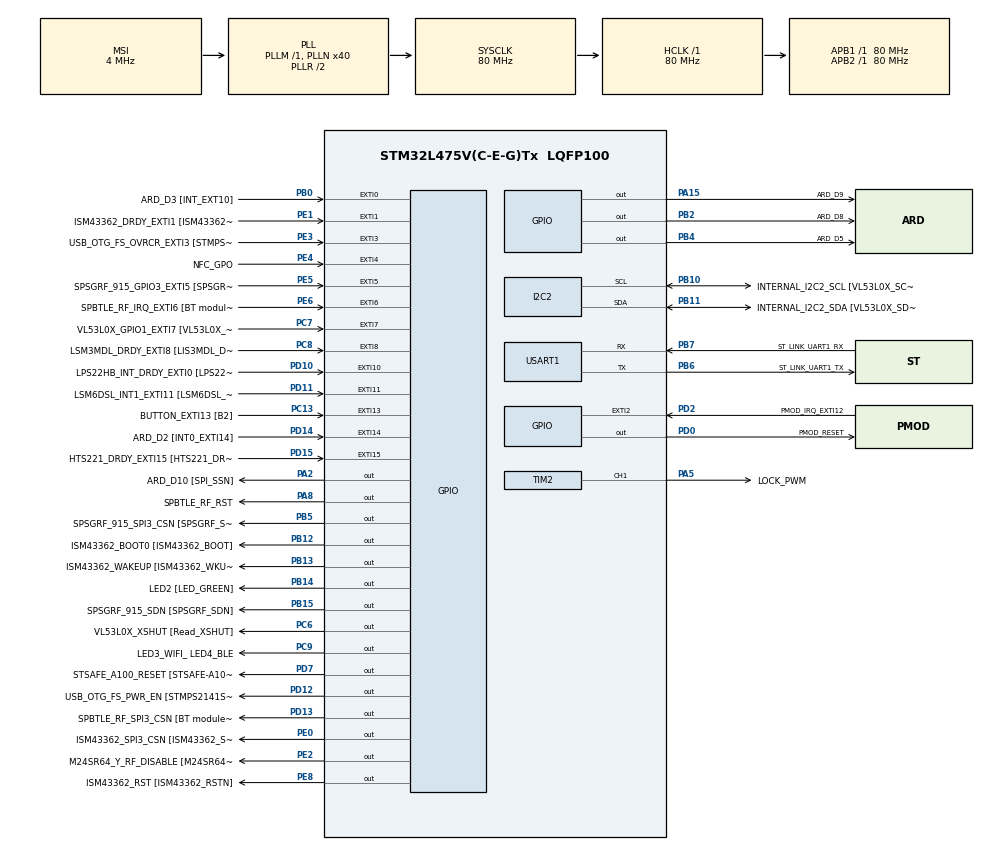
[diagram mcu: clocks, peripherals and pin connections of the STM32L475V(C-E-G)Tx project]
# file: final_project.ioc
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FREERTOS.Tasks01=defaultTask,24,128,StartDefaultTask,Default,NULL,Dynamic,NULL,NULL
FREERTOS.configCHECK_FOR_STACK_OVERFLOW=2
FREERTOS.configTOTAL_HEAP_SIZE=32768
FREERTOS.configUSE_MALLOC_FAILED_HOOK=1
FREERTOS.configUSE_NEWLIB_REENTRANT=1
I2C2.Timing=0x10D19CE4
Mcu.Family=STM32L4
Mcu.Name=STM32L475V(C-E-G)Tx
Mcu.Package=LQFP100
NVIC.EXTI15_10_IRQn=true\:5\:0\:false\:false\:true\:true\:true\:true\:true
NVIC.EXTI4_IRQn=true\:5\:0\:false\:false\:true\:true\:true\:true\:true
NVIC.EXTI9_5_IRQn=true\:5\:0\:false\:false\:true\:true\:true\:true\:true
NVIC.PriorityGroup=NVIC_PRIORITYGROUP_4
NVIC.TIM6_DAC_IRQn=true\:15\:0\:false\:false\:true\:false\:false\:true\:true
NVIC.TimeBase=TIM6_DAC_IRQn
NVIC.TimeBaseIP=TIM6
PA0.GPIO_Label=ARD_D1 [UART4_TX]
PA0.Signal=UART4_TX
PA1.GPIO_Label=ARD_D0 [UART4_RX]
PA1.Signal=UART4_RX
PA10.GPIO_Label=USB_OTG_FS_ID
PA10.Signal=USB_OTG_FS_ID
PA11.GPIO_Label=USB_OTG_FS_DM
PA11.Signal=USB_OTG_FS_DM
PA12.GPIO_Label=USB_OTG_FS_DP
PA12.Signal=USB_OTG_FS_DP
PA13\ (JTMS-SWDIO).GPIO_Label=SYS_JTMS_SWDIO
PA13\ (JTMS-SWDIO).Mode=Trace_Asynchronous_SW
PA13\ (JTMS-SWDIO).Signal=SYS_JTMS-SWDIO
PA14\ (JTCK-SWCLK).GPIO_Label=SYS_JTCK_SWCLK
PA14\ (JTCK-SWCLK).Mode=Trace_Asynchronous_SW
PA14\ (JTCK-SWCLK).Signal=SYS_JTCK-SWCLK
PA15\ (JTDI).GPIO_Label=ARD_D9
PA15\ (JTDI).Signal=GPIO_Output
PA2.GPIO_Label=ARD_D10 [SPI_SSN]
PA2.Signal=GPIO_Output
PA3.GPIO_Label=ARD_D4
PA3.Signal=S_TIM2_CH4
PA4.GPIO_Label=ARD_D7
PA4.Signal=ADCx_IN9
PA5.GPIO_Label=LOCK_PWM
PA5.Signal=S_TIM2_CH1
PA6.GPIO_Label=ARD_D12 [SPI1_MISO]
PA6.Signal=SPI1_MISO
PA7.GPIO_Label=ARD_D11 [SPI1_MOSI]
PA7.Signal=SPI1_MOSI
PA8.GPIO_Label=SPBTLE_RF_RST
PA8.Signal=GPIO_Output
PA9.GPIO_Label=USB_OTG_FS_VBUS [STMPS2141STR_OUT]
PA9.Signal=USB_OTG_FS_VBUS
PB0.GPIO_Label=ARD_D3 [INT_EXT10]
PB0.Signal=GPXTI0
PB1.GPIO_Label=ARD_D6 [ADC1_IN6]
PB1.Signal=ADCx_IN16
PB10.GPIO_Label=INTERNAL_I2C2_SCL [VL53L0X_SCL]
PB10.GPIO_Pu=GPIO_PULLUP
PB10.Mode=I2C
PB10.Signal=I2C2_SCL
PB11.GPIO_Label=INTERNAL_I2C2_SDA [VL53L0X_SDA]
PB11.GPIO_Pu=GPIO_PULLUP
PB11.Mode=I2C
PB11.Signal=I2C2_SDA
PB12.GPIO_Label=ISM43362_BOOT0 [ISM43362_BOOT]
PB12.Signal=GPIO_Output
PB13.GPIO_Label=ISM43362_WAKEUP [ISM43362_WKUP]
PB13.Signal=GPIO_Output
PB14.GPIO_Label=LED2 [LED_GREEN]
PB14.Signal=GPIO_Output
PB15.GPIO_Label=SPSGRF_915_SDN [SPSGRF_SDN]
PB15.Signal=GPIO_Output
PB2.GPIO_Label=ARD_D8
PB2.Signal=GPIO_Output
PB3\ (JTDO-TRACESWO).GPIO_Label=SYS_JTD0_SWO
PB3\ (JTDO-TRACESWO).Mode=Trace_Asynchronous_SW
PB3\ (JTDO-TRACESWO).Signal=SYS_JTDO-SWO
PB4\ (NJTRST).GPIO_Label=ARD_D5
PB4\ (NJTRST).Signal=GPIO_Output
PB5.GPIO_Label=SPSGRF_915_SPI3_CSN [SPSGRF_SPI_CS]
PB5.PinState=GPIO_PIN_SET
PB5.Signal=GPIO_Output
PB6.GPIO_Label=ST_LINK_UART1_TX
PB6.Mode=Asynchronous
PB6.Signal=USART1_TX
PB7.GPIO_Label=ST_LINK_UART1_RX
PB7.Mode=Asynchronous
PB7.Signal=USART1_RX
PB8.GPIO_Label=ARD_D15 [I2C1_SCL]
PB8.Signal=I2C1_SCL
PB9.GPIO_Label=ARD_D14 [I2C1_SDA]
PB9.Signal=I2C1_SDA
PC0.GPIO_Label=ARD_A5 [ADC]
PC0.Signal=ADCx_IN1
PC1.GPIO_Label=ARD_A4 [ADC]
PC1.Signal=ADCx_IN2
PC10.GPIO_Label=INTERNAL_SPI3_SCK [BT module_SPI_SCLK] [ISM43362_SCK]
PC10.Signal=SPI3_SCK
PC11.GPIO_Label=INTERNAL_SPI3_MISO [BT module_SPI_MISO] [ISM43362_MISO]
PC11.Signal=SPI3_MISO
PC12.GPIO_Label=INTERNAL_SPI3_MOSI [BT module_SPI_MOSI] [ISM43362_MOSI]
PC12.Signal=SPI3_MOSI
PC13.GPIO_Label=BUTTON_EXTI13 [B2]
PC13.GPIO_ModeDefaultEXTI=GPIO_MODE_IT_FALLING
PC13.Signal=GPXTI13
PC14-OSC32_IN\ (PC14).Mode=LSE-External-Oscillator
PC14-OSC32_IN\ (PC14).Signal=RCC_OSC32_IN
PC15-OSC32_OUT\ (PC15).Mode=LSE-External-Oscillator
PC15-OSC32_OUT\ (PC15).Signal=RCC_OSC32_OUT
PC2.GPIO_Label=ARD_A3 [ADC]
PC2.Signal=ADCx_IN3
PC3.GPIO_Label=ARD_A2 [ADC]
PC3.Signal=ADCx_IN4
PC4.GPIO_Label=ARD_A1 [ADC]
PC4.Signal=ADCx_IN13
PC5.GPIO_Label=ARD_A0 [ADC]
PC5.Signal=ADCx_IN14
PC6.GPIO_Label=VL53L0X_XSHUT [Read_XSHUT]
PC6.PinState=GPIO_PIN_SET
PC6.Signal=GPIO_Output
PC7.GPIO_Label=VL53L0X_GPIO1_EXTI7 [VL53L0X_GPIO1]
PC7.GPIO_ModeDefaultEXTI=GPIO_MODE_IT_FALLING
PC7.GPIO_PuPd=GPIO_PULLUP
PC7.Signal=GPXTI7
PC8.GPIO_Label=LSM3MDL_DRDY_EXTI8 [LIS3MDL_DRDY]
PC8.Signal=GPXTI8
PC9.GPIO_Label=LED3_WIFI_ LED4_BLE
PC9.Signal=GPIO_Output
PD0.GPIO_Label=PMOD_RESET
PD0.Signal=GPIO_Output
PD1.GPIO_Label=PMOD_SPI2_SCK
PD1.Signal=SPI2_SCK
PD10.GPIO_Label=LPS22HB_INT_DRDY_EXTI0 [LPS22HB_INT_DRDY] 
PD10.Signal=GPXTI10
PD11.GPIO_Label=LSM6DSL_INT1_EXTI11 [LSM6DSL_INT1]
PD11.Signal=GPXTI11
PD12.GPIO_Label=USB_OTG_FS_PWR_EN [STMPS2141STR_EN]
PD12.Signal=GPIO_Output
PD13.GPIO_Label=SPBTLE_RF_SPI3_CSN [BT module_SPI_CS]
PD13.PinState=GPIO_PIN_SET
PD13.Signal=GPIO_Output
PD14.GPIO_Label=ARD_D2 [INT0_EXTI14]
PD14.Signal=GPXTI14
PD15.GPIO_Label=HTS221_DRDY_EXTI15 [HTS221_DRDY]
PD15.Signal=GPXTI15
PD2.GPIO_Label=PMOD_IRQ_EXTI12
PD2.Signal=GPXTI2
PD3.GPIO_Label=PMOD_UART2_CTS
PD3.Signal=USART2_CTS
PD4.GPIO_Label=PMOD_UART2_RTS
PD4.Signal=USART2_RTS
PD5.GPIO_Label=PMOD_UART2_TX
PD5.Signal=USART2_TX
PD6.GPIO_Label=PMOD_UART2_RX
PD6.Signal=USART2_RX
PD7.GPIO_Label=STSAFE_A100_RESET [STSAFE-A100_RESET]
PD7.Signal=GPIO_Output
PD8.GPIO_Label=INTERNAL_UART3_TX [ISM43362_RX]
PD8.Signal=USART3_TX
PD9.GPIO_Label=INTERNAL_UART3_RX [ISM43362_TX]
PD9.Signal=USART3_RX
PE0.GPIO_Label=ISM43362_SPI3_CSN [ISM43362_SSN]
PE0.PinState=GPIO_PIN_SET
PE0.Signal=GPIO_Output
PE1.GPIO_Label=ISM43362_DRDY_EXTI1 [ISM43362_DATARDY]
PE1.Signal=GPXTI1
PE10.GPIO_Label=QUADSPI_CLK [MX25R6435F_SCLK]
PE10.Signal=QUADSPI_CLK
PE11.GPIO_Label=QUADSPI_NCS [MX25R6435F_SCLK]
PE11.Signal=QUADSPI_NCS
PE12.GPIO_Label=OQUADSPI_BK1_IO0 [MX25R6435F_IO0]
PE12.Signal=QUADSPI_BK1_IO0
PE13.GPIO_Label=QUADSPI_BK1_IO1 [MX25R6435F_IO1]
PE13.Signal=QUADSPI_BK1_IO1
PE14.GPIO_Label=QUAD_SPI_BK1_IO2 [MX25R6435F_IO2]
PE14.Signal=QUADSPI_BK1_IO2
PE15.GPIO_Label=QUAD_SPI_BK1_IO3 [MX25R6435F_IO3]
PE15.Signal=QUADSPI_BK1_IO3
PE2.GPIO_Label=M24SR64_Y_RF_DISABLE [M24SR64_RFDIS]
PE2.Signal=GPIO_Output
PE3.GPIO_Label=USB_OTG_FS_OVRCR_EXTI3 [STMPS2141STR_FAULT]
PE3.Signal=GPXTI3
PE4.GPIO_Label=NFC_GPO
PE4.GPIO_ModeDefaultEXTI=GPIO_MODE_IT_FALLING
PE4.GPIO_PuPd=GPIO_PULLUP
PE4.Signal=GPXTI4
PE5.GPIO_Label=SPSGRF_915_GPIO3_EXTI5 [SPSGRF_GPIO_3]
PE5.Signal=GPXTI5
PE6.GPIO_Label=SPBTLE_RF_IRQ_EXTI6 [BT module_SPI_IRQ]
PE6.Signal=GPXTI6
PE7.GPIO_Label=DFSDM1_DATIN2 [MP34DT01_DOUT]
PE7.Signal=S_DATAIN2DFSDM1
PE8.GPIO_Label=ISM43362_RST [ISM43362_RSTN]
PE8.Signal=GPIO_Output
PE9.GPIO_Label=DFSDM1_CKOUT [MP34DT01_CLK]
PE9.Signal=S_CKOUTDFSDM1
ProjectManager.HeapSize=0x200
ProjectManager.StackSize=0x400
ProjectManager.TargetToolchain=STM32CubeIDE
RCC.ADCFreq_Value=48000000
RCC.AHBFreq_Value=80000000
RCC.APB1Freq_Value=80000000
RCC.APB1TimFreq_Value=80000000
RCC.APB2Freq_Value=80000000
RCC.APB2TimFreq_Value=80000000
RCC.CortexFreq_Value=80000000
RCC.HCLKFreq_Value=80000000
RCC.HSE_VALUE=8000000
RCC.HSI_VALUE=16000000
RCC.MSI_VALUE=4000000
RCC.PLLN=40
RCC.PLLSAI1N=24
RCC.SYSCLKFreq_VALUE=80000000
RCC.SYSCLKSource=RCC_SYSCLKSOURCE_PLLCLK
RCC.USBFreq_Value=48000000
RCC.VCOOutputFreq_Value=160000000
SH.ADCx_IN1.0=ADC1_IN1
SH.ADCx_IN13.0=ADC1_IN13
SH.ADCx_IN14.0=ADC1_IN14
SH.ADCx_IN16.0=ADC1_IN16
SH.ADCx_IN2.0=ADC1_IN2
SH.ADCx_IN3.0=ADC1_IN3
SH.ADCx_IN4.0=ADC1_IN4
SH.ADCx_IN9.0=ADC1_IN9
SH.S_CKOUTDFSDM1.0=DFSDM1_CKOUT
SH.S_CKOUTDFSDM1.1=DFSDM1_CKOUT
SH.S_DATAIN2DFSDM1.0=DFSDM1_DATIN2
SH.S_TIM2_CH1.0=TIM2_CH1,PWM Generation1 CH1
SH.S_TIM2_CH4.0=TIM2_CH4
TIM2.AutoReloadPreload=TIM_AUTORELOAD_PRELOAD_ENABLE
TIM2.Channel-PWM\ Generation1\ CH1=TIM_CHANNEL_1
TIM2.Period=19999
TIM2.Prescaler=79
TIM2.Pulse-PWM\ Generation1\ CH1=1000
USART1.VirtualMode-Asynchronous=VM_ASYNC
VP_FREERTOS_VS_CMSIS_V2.Mode=CMSIS_V2
VP_SYS_VS_tim6.Mode=TIM6
VP_TIM2_VS_ClockSourceINT.Mode=Internal
board=B-L475E-IOT01A1

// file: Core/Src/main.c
/* USER CODE BEGIN Header */
/**
  ******************************************************************************
  * @file           : main.c
  * @brief          : Main program body
  ******************************************************************************
  * @attention
  *
  * Copyright (c) 2026 STMicroelectronics.
  * All rights reserved.
  *
  * This software is licensed under terms that can be found in the LICENSE file
  * in the root directory of this software component.
  * If no LICENSE file comes with this software, it is provided AS-IS.
  *
  ******************************************************************************
  */
/* USER CODE END Header */
#include "main.h"
#include "cmsis_os.h"

/* USER CODE BEGIN Includes */
#include <stdio.h>
#include <stdarg.h>
#include "FreeRTOS.h"
#include "task.h"
#include "queue.h"
#include "semphr.h"
#include "timers.h"
/* USER CODE END Includes */

/* USER CODE BEGIN PTD */
typedef enum {
  ST_IDLE = 0,      /* locked, empty, sleeping                */
  ST_DELIVERY,      /* chute open, waiting for a package      */
  ST_STORED,        /* package inside, locked                 */
  ST_RETRIEVAL,     /* owner authenticated, lock open         */
  ST_ALARM          /* failed authentication                  */
} State_t;

typedef enum {
  EV_DELIVERY_REQUEST = 0,
  EV_PACKAGE_PRESENT,
  EV_PACKAGE_REMOVED,
  EV_AUTH_OK,
  EV_AUTH_FAIL,
  EV_TIMEOUT,
  EV_TEMP
} EventType_t;

typedef struct {
  EventType_t type;
  int32_t     value;   /* event data; for EV_TIMEOUT = timer generation */
  TickType_t  tick;    /* when it was posted (1 tick = 1 ms)            */
} Event_t;
/* USER CODE END PTD */

/* USER CODE BEGIN PD */
/* Task notification bits: the native FreeRTOS form of thread flags */
#define FLAG_BUTTON           (1UL << 0)
#define FLAG_TOF              (1UL << 1)
#define FLAG_NFC              (1UL << 2)

#define EVENT_QUEUE_LEN       16
#define DEBOUNCE_MS           50

/* State timeouts in ms */
#define TIMEOUT_DELIVERY_MS   30000
#define TIMEOUT_RETRIEVAL_MS  60000
#define TIMEOUT_ALARM_MS      10000

/* Stack depths are in WORDS (1 word = 4 bytes) */
#define STACK_STATE           384
#define STACK_BUTTON          256
#define STACK_MONITOR         384

#define PRIO_STATE            (tskIDLE_PRIORITY + 4)
#define PRIO_BUTTON           (tskIDLE_PRIORITY + 3)
#define PRIO_MONITOR          (tskIDLE_PRIORITY + 1)
/* USER CODE END PD */

I2C_HandleTypeDef hi2c2;

TIM_HandleTypeDef htim2;

UART_HandleTypeDef huart1;

/* Definitions for defaultTask */
osThreadId_t defaultTaskHandle;
const osThreadAttr_t defaultTask_attributes = {
  .name = "defaultTask",
  .stack_size = 128 * 4,
  .priority = (osPriority_t) osPriorityNormal,
};
/* USER CODE BEGIN PV */
TaskHandle_t      stateTaskHandle   = NULL;
TaskHandle_t      buttonTaskHandle  = NULL;
TaskHandle_t      monitorTaskHandle = NULL;

QueueHandle_t     eventQueue        = NULL;
SemaphoreHandle_t i2cMutex          = NULL;  /* I2C2: VL53L0X, HTS221, M24SR */
SemaphoreHandle_t logMutex          = NULL;  /* printf from several tasks    */
TimerHandle_t     stateTimer        = NULL;

static volatile State_t  currentState   = ST_IDLE;
static volatile uint32_t timerGen       = 0;
static volatile uint32_t droppedEvents  = 0;
/* USER CODE END PV */

void SystemClock_Config(void);
static void MX_GPIO_Init(void);
static void MX_I2C2_Init(void);
static void MX_USART1_UART_Init(void);
static void MX_TIM2_Init(void);
void StartDefaultTask(void *argument);

/* USER CODE BEGIN PFP */
static void StateTask(void *arg);
static void ButtonTask(void *arg);
static void MonitorTask(void *arg);
static void StateTimerCallback(TimerHandle_t t);
static void post_event(EventType_t type, int32_t value);
static void enter_state(State_t s);
static const char *state_name(State_t s);
void log_printf(const char *fmt, ...);
/* USER CODE END PFP */

/* USER CODE BEGIN 0 */
int _write(int file, char *ptr, int len)
{
  (void)file;
  for (int i = 0; i < len; i++)
  {
    ITM_SendChar(*ptr++);
  }
  return len;
}
/* USER CODE END 0 */

int main(void)
{

  /* MCU Configuration--------------------------------------------------------*/

  /* Reset of all peripherals, Initializes the Flash interface and the Systick. */
  HAL_Init();

  /* Configure the system clock */
  SystemClock_Config();

  /* Initialize all configured peripherals */
  MX_GPIO_Init();
  MX_I2C2_Init();
  MX_USART1_UART_Init();
  MX_TIM2_Init();

  /* Init scheduler */
  osKernelInitialize();

  /* Create the thread(s) */
  /* creation of defaultTask */
  defaultTaskHandle = osThreadNew(StartDefaultTask, NULL, &defaultTask_attributes);

  /* Start scheduler */
  osKernelStart();

  /* We should never get here as control is now taken by the scheduler */

  /* Infinite loop */
  while (1)
  {

  }
}

void SystemClock_Config(void)
{
  RCC_OscInitTypeDef RCC_OscInitStruct = {0};
  RCC_ClkInitTypeDef RCC_ClkInitStruct = {0};

  /** Configure the main internal regulator output voltage
  */
  if (HAL_PWREx_ControlVoltageScaling(PWR_REGULATOR_VOLTAGE_SCALE1) != HAL_OK)
  {
    Error_Handler();
  }

  /** Configure LSE Drive Capability
  */
  HAL_PWR_EnableBkUpAccess();
  __HAL_RCC_LSEDRIVE_CONFIG(RCC_LSEDRIVE_LOW);

  /** Initializes the RCC Oscillators according to the specified parameters
  * in the RCC_OscInitTypeDef structure.
  */
  RCC_OscInitStruct.OscillatorType = RCC_OSCILLATORTYPE_LSE|RCC_OSCILLATORTYPE_MSI;
  RCC_OscInitStruct.LSEState = RCC_LSE_ON;
  RCC_OscInitStruct.MSIState = RCC_MSI_ON;
  RCC_OscInitStruct.MSICalibrationValue = 0;
  RCC_OscInitStruct.MSIClockRange = RCC_MSIRANGE_6;
  RCC_OscInitStruct.PLL.PLLState = RCC_PLL_ON;
  RCC_OscInitStruct.PLL.PLLSource = RCC_PLLSOURCE_MSI;
  RCC_OscInitStruct.PLL.PLLM = 1;
  RCC_OscInitStruct.PLL.PLLN = 40;
  RCC_OscInitStruct.PLL.PLLP = RCC_PLLP_DIV7;
  RCC_OscInitStruct.PLL.PLLQ = RCC_PLLQ_DIV2;
  RCC_OscInitStruct.PLL.PLLR = RCC_PLLR_DIV2;
  if (HAL_RCC_OscConfig(&RCC_OscInitStruct) != HAL_OK)
  {
    Error_Handler();
  }

  /** Initializes the CPU, AHB and APB buses clocks
  */
  RCC_ClkInitStruct.ClockType = RCC_CLOCKTYPE_HCLK|RCC_CLOCKTYPE_SYSCLK
                              |RCC_CLOCKTYPE_PCLK1|RCC_CLOCKTYPE_PCLK2;
  RCC_ClkInitStruct.SYSCLKSource = RCC_SYSCLKSOURCE_PLLCLK;
  RCC_ClkInitStruct.AHBCLKDivider = RCC_SYSCLK_DIV1;
  RCC_ClkInitStruct.APB1CLKDivider = RCC_HCLK_DIV1;
  RCC_ClkInitStruct.APB2CLKDivider = RCC_HCLK_DIV1;

  if (HAL_RCC_ClockConfig(&RCC_ClkInitStruct, FLASH_LATENCY_4) != HAL_OK)
  {
    Error_Handler();
  }

  /** Enable MSI Auto calibration
  */
  HAL_RCCEx_EnableMSIPLLMode();
}

static void MX_I2C2_Init(void)
{

  hi2c2.Instance = I2C2;
  hi2c2.Init.Timing = 0x10D19CE4;
  hi2c2.Init.OwnAddress1 = 0;
  hi2c2.Init.AddressingMode = I2C_ADDRESSINGMODE_7BIT;
  hi2c2.Init.DualAddressMode = I2C_DUALADDRESS_DISABLE;
  hi2c2.Init.OwnAddress2 = 0;
  hi2c2.Init.OwnAddress2Masks = I2C_OA2_NOMASK;
  hi2c2.Init.GeneralCallMode = I2C_GENERALCALL_DISABLE;
  hi2c2.Init.NoStretchMode = I2C_NOSTRETCH_DISABLE;
  if (HAL_I2C_Init(&hi2c2) != HAL_OK)
  {
    Error_Handler();
  }

  /** Configure Analogue filter
  */
  if (HAL_I2CEx_ConfigAnalogFilter(&hi2c2, I2C_ANALOGFILTER_ENABLE) != HAL_OK)
  {
    Error_Handler();
  }

  /** Configure Digital filter
  */
  if (HAL_I2CEx_ConfigDigitalFilter(&hi2c2, 0) != HAL_OK)
  {
    Error_Handler();
  }

}

static void MX_TIM2_Init(void)
{

  TIM_ClockConfigTypeDef sClockSourceConfig = {0};
  TIM_MasterConfigTypeDef sMasterConfig = {0};
  TIM_OC_InitTypeDef sConfigOC = {0};

  htim2.Instance = TIM2;
  htim2.Init.Prescaler = 79;
  htim2.Init.CounterMode = TIM_COUNTERMODE_UP;
  htim2.Init.Period = 19999;
  htim2.Init.ClockDivision = TIM_CLOCKDIVISION_DIV1;
  htim2.Init.AutoReloadPreload = TIM_AUTORELOAD_PRELOAD_ENABLE;
  if (HAL_TIM_Base_Init(&htim2) != HAL_OK)
  {
    Error_Handler();
  }
  sClockSourceConfig.ClockSource = TIM_CLOCKSOURCE_INTERNAL;
  if (HAL_TIM_ConfigClockSource(&htim2, &sClockSourceConfig) != HAL_OK)
  {
    Error_Handler();
  }
  if (HAL_TIM_PWM_Init(&htim2) != HAL_OK)
  {
    Error_Handler();
  }
  sMasterConfig.MasterOutputTrigger = TIM_TRGO_RESET;
  sMasterConfig.MasterSlaveMode = TIM_MASTERSLAVEMODE_DISABLE;
  if (HAL_TIMEx_MasterConfigSynchronization(&htim2, &sMasterConfig) != HAL_OK)
  {
    Error_Handler();
  }
  sConfigOC.OCMode = TIM_OCMODE_PWM1;
  sConfigOC.Pulse = 1000;
  sConfigOC.OCPolarity = TIM_OCPOLARITY_HIGH;
  sConfigOC.OCFastMode = TIM_OCFAST_DISABLE;
  if (HAL_TIM_PWM_ConfigChannel(&htim2, &sConfigOC, TIM_CHANNEL_1) != HAL_OK)
  {
    Error_Handler();
  }
  HAL_TIM_MspPostInit(&htim2);

}

static void MX_USART1_UART_Init(void)
{

  huart1.Instance = USART1;
  huart1.Init.BaudRate = 115200;
  huart1.Init.WordLength = UART_WORDLENGTH_8B;
  huart1.Init.StopBits = UART_STOPBITS_1;
  huart1.Init.Parity = UART_PARITY_NONE;
  huart1.Init.Mode = UART_MODE_TX_RX;
  huart1.Init.HwFlowCtl = UART_HWCONTROL_NONE;
  huart1.Init.OverSampling = UART_OVERSAMPLING_16;
  huart1.Init.OneBitSampling = UART_ONE_BIT_SAMPLE_DISABLE;
  huart1.AdvancedInit.AdvFeatureInit = UART_ADVFEATURE_NO_INIT;
  if (HAL_UART_Init(&huart1) != HAL_OK)
  {
    Error_Handler();
  }

}

static void MX_GPIO_Init(void)
{
  GPIO_InitTypeDef GPIO_InitStruct = {0};

  /* GPIO Ports Clock Enable */
  __HAL_RCC_GPIOE_CLK_ENABLE();
  __HAL_RCC_GPIOC_CLK_ENABLE();
  __HAL_RCC_GPIOA_CLK_ENABLE();
  __HAL_RCC_GPIOB_CLK_ENABLE();
  __HAL_RCC_GPIOD_CLK_ENABLE();

  /*Configure GPIO pin Output Level */
  HAL_GPIO_WritePin(GPIOE, M24SR64_Y_RF_DISABLE_Pin|ISM43362_RST_Pin, GPIO_PIN_RESET);

  /*Configure GPIO pin Output Level */
  HAL_GPIO_WritePin(GPIOA, ARD_D10_Pin|SPBTLE_RF_RST_Pin|ARD_D9_Pin, GPIO_PIN_RESET);

  /*Configure GPIO pin Output Level */
  HAL_GPIO_WritePin(GPIOB, ARD_D8_Pin|ISM43362_BOOT0_Pin|ISM43362_WAKEUP_Pin|LED2_Pin
                          |SPSGRF_915_SDN_Pin|ARD_D5_Pin, GPIO_PIN_RESET);

  /*Configure GPIO pin Output Level */
  HAL_GPIO_WritePin(GPIOD, USB_OTG_FS_PWR_EN_Pin|PMOD_RESET_Pin|STSAFE_A100_RESET_Pin, GPIO_PIN_RESET);

  /*Configure GPIO pin Output Level */
  HAL_GPIO_WritePin(SPBTLE_RF_SPI3_CSN_GPIO_Port, SPBTLE_RF_SPI3_CSN_Pin, GPIO_PIN_SET);

  /*Configure GPIO pin Output Level */
  HAL_GPIO_WritePin(VL53L0X_XSHUT_GPIO_Port, VL53L0X_XSHUT_Pin, GPIO_PIN_SET);

  /*Configure GPIO pin Output Level */
  HAL_GPIO_WritePin(LED3_WIFI__LED4_BLE_GPIO_Port, LED3_WIFI__LED4_BLE_Pin, GPIO_PIN_RESET);

  /*Configure GPIO pin Output Level */
  HAL_GPIO_WritePin(SPSGRF_915_SPI3_CSN_GPIO_Port, SPSGRF_915_SPI3_CSN_Pin, GPIO_PIN_SET);

  /*Configure GPIO pin Output Level */
  HAL_GPIO_WritePin(ISM43362_SPI3_CSN_GPIO_Port, ISM43362_SPI3_CSN_Pin, GPIO_PIN_SET);

  /*Configure GPIO pins : M24SR64_Y_RF_DISABLE_Pin ISM43362_RST_Pin ISM43362_SPI3_CSN_Pin */
  GPIO_InitStruct.Pin = M24SR64_Y_RF_DISABLE_Pin|ISM43362_RST_Pin|ISM43362_SPI3_CSN_Pin;
  GPIO_InitStruct.Mode = GPIO_MODE_OUTPUT_PP;
  GPIO_InitStruct.Pull = GPIO_NOPULL;
  GPIO_InitStruct.Speed = GPIO_SPEED_FREQ_LOW;
  HAL_GPIO_Init(GPIOE, &GPIO_InitStruct);

  /*Configure GPIO pins : USB_OTG_FS_OVRCR_EXTI3_Pin SPSGRF_915_GPIO3_EXTI5_Pin SPBTLE_RF_IRQ_EXTI6_Pin ISM43362_DRDY_EXTI1_Pin */
  GPIO_InitStruct.Pin = USB_OTG_FS_OVRCR_EXTI3_Pin|SPSGRF_915_GPIO3_EXTI5_Pin|SPBTLE_RF_IRQ_EXTI6_Pin|ISM43362_DRDY_EXTI1_Pin;
  GPIO_InitStruct.Mode = GPIO_MODE_IT_RISING;
  GPIO_InitStruct.Pull = GPIO_NOPULL;
  HAL_GPIO_Init(GPIOE, &GPIO_InitStruct);

  /*Configure GPIO pin : NFC_GPO_Pin */
  GPIO_InitStruct.Pin = NFC_GPO_Pin;
  GPIO_InitStruct.Mode = GPIO_MODE_IT_FALLING;
  GPIO_InitStruct.Pull = GPIO_PULLUP;
  HAL_GPIO_Init(NFC_GPO_GPIO_Port, &GPIO_InitStruct);

  /*Configure GPIO pin : BUTTON_EXTI13_Pin */
  GPIO_InitStruct.Pin = BUTTON_EXTI13_Pin;
  GPIO_InitStruct.Mode = GPIO_MODE_IT_FALLING;
  GPIO_InitStruct.Pull = GPIO_NOPULL;
  HAL_GPIO_Init(BUTTON_EXTI13_GPIO_Port, &GPIO_InitStruct);

  /*Configure GPIO pins : ARD_A5_Pin ARD_A4_Pin ARD_A3_Pin ARD_A2_Pin
                           ARD_A1_Pin ARD_A0_Pin */
  GPIO_InitStruct.Pin = ARD_A5_Pin|ARD_A4_Pin|ARD_A3_Pin|ARD_A2_Pin
                          |ARD_A1_Pin|ARD_A0_Pin;
  GPIO_InitStruct.Mode = GPIO_MODE_ANALOG_ADC_CONTROL;
  GPIO_InitStruct.Pull = GPIO_NOPULL;
  HAL_GPIO_Init(GPIOC, &GPIO_InitStruct);

  /*Configure GPIO pins : ARD_D1_Pin ARD_D0_Pin */
  GPIO_InitStruct.Pin = ARD_D1_Pin|ARD_D0_Pin;
  GPIO_InitStruct.Mode = GPIO_MODE_AF_PP;
  GPIO_InitStruct.Pull = GPIO_NOPULL;
  GPIO_InitStruct.Speed = GPIO_SPEED_FREQ_VERY_HIGH;
  GPIO_InitStruct.Alternate = GPIO_AF8_UART4;
  HAL_GPIO_Init(GPIOA, &GPIO_InitStruct);

  /*Configure GPIO pins : ARD_D10_Pin SPBTLE_RF_RST_Pin ARD_D9_Pin */
  GPIO_InitStruct.Pin = ARD_D10_Pin|SPBTLE_RF_RST_Pin|ARD_D9_Pin;
  GPIO_InitStruct.Mode = GPIO_MODE_OUTPUT_PP;
  GPIO_InitStruct.Pull = GPIO_NOPULL;
  GPIO_InitStruct.Speed = GPIO_SPEED_FREQ_LOW;
  HAL_GPIO_Init(GPIOA, &GPIO_InitStruct);

  /*Configure GPIO pin : ARD_D7_Pin */
  GPIO_InitStruct.Pin = ARD_D7_Pin;
  GPIO_InitStruct.Mode = GPIO_MODE_ANALOG_ADC_CONTROL;
  GPIO_InitStruct.Pull = GPIO_NOPULL;
  HAL_GPIO_Init(ARD_D7_GPIO_Port, &GPIO_InitStruct);

  /*Configure GPIO pins : ARD_D12_Pin ARD_D11_Pin */
  GPIO_InitStruct.Pin = ARD_D12_Pin|ARD_D11_Pin;
  GPIO_InitStruct.Mode = GPIO_MODE_AF_PP;
  GPIO_InitStruct.Pull = GPIO_NOPULL;
  GPIO_InitStruct.Speed = GPIO_SPEED_FREQ_VERY_HIGH;
  GPIO_InitStruct.Alternate = GPIO_AF5_SPI1;
  HAL_GPIO_Init(GPIOA, &GPIO_InitStruct);

  /*Configure GPIO pin : ARD_D3_Pin */
  GPIO_InitStruct.Pin = ARD_D3_Pin;
  GPIO_InitStruct.Mode = GPIO_MODE_IT_RISING;
  GPIO_InitStruct.Pull = GPIO_NOPULL;
  HAL_GPIO_Init(ARD_D3_GPIO_Port, &GPIO_InitStruct);

  /*Configure GPIO pin : ARD_D6_Pin */
  GPIO_InitStruct.Pin = ARD_D6_Pin;
  GPIO_InitStruct.Mode = GPIO_MODE_ANALOG_ADC_CONTROL;
  GPIO_InitStruct.Pull = GPIO_NOPULL;
  HAL_GPIO_Init(ARD_D6_GPIO_Port, &GPIO_InitStruct);

  /*Configure GPIO pins : ARD_D8_Pin ISM43362_BOOT0_Pin ISM43362_WAKEUP_Pin LED2_Pin
                           SPSGRF_915_SDN_Pin ARD_D5_Pin SPSGRF_915_SPI3_CSN_Pin */
  GPIO_InitStruct.Pin = ARD_D8_Pin|ISM43362_BOOT0_Pin|ISM43362_WAKEUP_Pin|LED2_Pin
                          |SPSGRF_915_SDN_Pin|ARD_D5_Pin|SPSGRF_915_SPI3_CSN_Pin;
  GPIO_InitStruct.Mode = GPIO_MODE_OUTPUT_PP;
  GPIO_InitStruct.Pull = GPIO_NOPULL;
  GPIO_InitStruct.Speed = GPIO_SPEED_FREQ_LOW;
  HAL_GPIO_Init(GPIOB, &GPIO_InitStruct);

  /*Configure GPIO pins : DFSDM1_DATIN2_Pin DFSDM1_CKOUT_Pin */
  GPIO_InitStruct.Pin = DFSDM1_DATIN2_Pin|DFSDM1_CKOUT_Pin;
  GPIO_InitStruct.Mode = GPIO_MODE_AF_PP;
  GPIO_InitStruct.Pull = GPIO_NOPULL;
  GPIO_InitStruct.Speed = GPIO_SPEED_FREQ_LOW;
  GPIO_InitStruct.Alternate = GPIO_AF6_DFSDM1;
  HAL_GPIO_Init(GPIOE, &GPIO_InitStruct);

  /*Configure GPIO pins : QUADSPI_CLK_Pin QUADSPI_NCS_Pin OQUADSPI_BK1_IO0_Pin QUADSPI_BK1_IO1_Pin
                           QUAD_SPI_BK1_IO2_Pin QUAD_SPI_BK1_IO3_Pin */
  GPIO_InitStruct.Pin = QUADSPI_CLK_Pin|QUADSPI_NCS_Pin|OQUADSPI_BK1_IO0_Pin|QUADSPI_BK1_IO1_Pin
                          |QUAD_SPI_BK1_IO2_Pin|QUAD_SPI_BK1_IO3_Pin;
  GPIO_InitStruct.Mode = GPIO_MODE_AF_PP;
  GPIO_InitStruct.Pull = GPIO_NOPULL;
  GPIO_InitStruct.Speed = GPIO_SPEED_FREQ_VERY_HIGH;
  GPIO_InitStruct.Alternate = GPIO_AF10_QUADSPI;
  HAL_GPIO_Init(GPIOE, &GPIO_InitStruct);

  /*Configure GPIO pins : INTERNAL_UART3_TX_Pin INTERNAL_UART3_RX_Pin */
  GPIO_InitStruct.Pin = INTERNAL_UART3_TX_Pin|INTERNAL_UART3_RX_Pin;
  GPIO_InitStruct.Mode = GPIO_MODE_AF_PP;
  GPIO_InitStruct.Pull = GPIO_NOPULL;
  GPIO_InitStruct.Speed = GPIO_SPEED_FREQ_VERY_HIGH;
  GPIO_InitStruct.Alternate = GPIO_AF7_USART3;
  HAL_GPIO_Init(GPIOD, &GPIO_InitStruct);

  /*Configure GPIO pins : LPS22HB_INT_DRDY_EXTI0_Pin LSM6DSL_INT1_EXTI11_Pin ARD_D2_Pin HTS221_DRDY_EXTI15_Pin
                           PMOD_IRQ_EXTI12_Pin */
  GPIO_InitStruct.Pin = LPS22HB_INT_DRDY_EXTI0_Pin|LSM6DSL_INT1_EXTI11_Pin|ARD_D2_Pin|HTS221_DRDY_EXTI15_Pin
                          |PMOD_IRQ_EXTI12_Pin;
  GPIO_InitStruct.Mode = GPIO_MODE_IT_RISING;
  GPIO_InitStruct.Pull = GPIO_NOPULL;
  HAL_GPIO_Init(GPIOD, &GPIO_InitStruct);

  /*Configure GPIO pins : USB_OTG_FS_PWR_EN_Pin SPBTLE_RF_SPI3_CSN_Pin PMOD_RESET_Pin STSAFE_A100_RESET_Pin */
  GPIO_InitStruct.Pin = USB_OTG_FS_PWR_EN_Pin|SPBTLE_RF_SPI3_CSN_Pin|PMOD_RESET_Pin|STSAFE_A100_RESET_Pin;
  GPIO_InitStruct.Mode = GPIO_MODE_OUTPUT_PP;
  GPIO_InitStruct.Pull = GPIO_NOPULL;
  GPIO_InitStruct.Speed = GPIO_SPEED_FREQ_LOW;
  HAL_GPIO_Init(GPIOD, &GPIO_InitStruct);

  /*Configure GPIO pins : VL53L0X_XSHUT_Pin LED3_WIFI__LED4_BLE_Pin */
  GPIO_InitStruct.Pin = VL53L0X_XSHUT_Pin|LED3_WIFI__LED4_BLE_Pin;
  GPIO_InitStruct.Mode = GPIO_MODE_OUTPUT_PP;
  GPIO_InitStruct.Pull = GPIO_NOPULL;
  GPIO_InitStruct.Speed = GPIO_SPEED_FREQ_LOW;
  HAL_GPIO_Init(GPIOC, &GPIO_InitStruct);

  /*Configure GPIO pin : VL53L0X_GPIO1_EXTI7_Pin */
  GPIO_InitStruct.Pin = VL53L0X_GPIO1_EXTI7_Pin;
  GPIO_InitStruct.Mode = GPIO_MODE_IT_FALLING;
  GPIO_InitStruct.Pull = GPIO_PULLUP;
  HAL_GPIO_Init(VL53L0X_GPIO1_EXTI7_GPIO_Port, &GPIO_InitStruct);

  /*Configure GPIO pin : LSM3MDL_DRDY_EXTI8_Pin */
  GPIO_InitStruct.Pin = LSM3MDL_DRDY_EXTI8_Pin;
  GPIO_InitStruct.Mode = GPIO_MODE_IT_RISING;
  GPIO_InitStruct.Pull = GPIO_NOPULL;
  HAL_GPIO_Init(LSM3MDL_DRDY_EXTI8_GPIO_Port, &GPIO_InitStruct);

  /*Configure GPIO pin : USB_OTG_FS_VBUS_Pin */
  GPIO_InitStruct.Pin = USB_OTG_FS_VBUS_Pin;
  GPIO_InitStruct.Mode = GPIO_MODE_INPUT;
  GPIO_InitStruct.Pull = GPIO_NOPULL;
  HAL_GPIO_Init(USB_OTG_FS_VBUS_GPIO_Port, &GPIO_InitStruct);

  /*Configure GPIO pins : USB_OTG_FS_ID_Pin USB_OTG_FS_DM_Pin USB_OTG_FS_DP_Pin */
  GPIO_InitStruct.Pin = USB_OTG_FS_ID_Pin|USB_OTG_FS_DM_Pin|USB_OTG_FS_DP_Pin;
  GPIO_InitStruct.Mode = GPIO_MODE_AF_PP;
  GPIO_InitStruct.Pull = GPIO_NOPULL;
  GPIO_InitStruct.Speed = GPIO_SPEED_FREQ_VERY_HIGH;
  GPIO_InitStruct.Alternate = GPIO_AF10_OTG_FS;
  HAL_GPIO_Init(GPIOA, &GPIO_InitStruct);

  /*Configure GPIO pins : INTERNAL_SPI3_SCK_Pin INTERNAL_SPI3_MISO_Pin INTERNAL_SPI3_MOSI_Pin */
  GPIO_InitStruct.Pin = INTERNAL_SPI3_SCK_Pin|INTERNAL_SPI3_MISO_Pin|INTERNAL_SPI3_MOSI_Pin;
  GPIO_InitStruct.Mode = GPIO_MODE_AF_PP;
  GPIO_InitStruct.Pull = GPIO_NOPULL;
  GPIO_InitStruct.Speed = GPIO_SPEED_FREQ_VERY_HIGH;
  GPIO_InitStruct.Alternate = GPIO_AF6_SPI3;
  HAL_GPIO_Init(GPIOC, &GPIO_InitStruct);

  /*Configure GPIO pin : PMOD_SPI2_SCK_Pin */
  GPIO_InitStruct.Pin = PMOD_SPI2_SCK_Pin;
  GPIO_InitStruct.Mode = GPIO_MODE_AF_PP;
  GPIO_InitStruct.Pull = GPIO_NOPULL;
  GPIO_InitStruct.Speed = GPIO_SPEED_FREQ_VERY_HIGH;
  GPIO_InitStruct.Alternate = GPIO_AF5_SPI2;
  HAL_GPIO_Init(PMOD_SPI2_SCK_GPIO_Port, &GPIO_InitStruct);

  /*Configure GPIO pins : PMOD_UART2_CTS_Pin PMOD_UART2_RTS_Pin PMOD_UART2_TX_Pin PMOD_UART2_RX_Pin */
  GPIO_InitStruct.Pin = PMOD_UART2_CTS_Pin|PMOD_UART2_RTS_Pin|PMOD_UART2_TX_Pin|PMOD_UART2_RX_Pin;
  GPIO_InitStruct.Mode = GPIO_MODE_AF_PP;
  GPIO_InitStruct.Pull = GPIO_NOPULL;
  GPIO_InitStruct.Speed = GPIO_SPEED_FREQ_VERY_HIGH;
  GPIO_InitStruct.Alternate = GPIO_AF7_USART2;
  HAL_GPIO_Init(GPIOD, &GPIO_InitStruct);

  /*Configure GPIO pins : ARD_D15_Pin ARD_D14_Pin */
  GPIO_InitStruct.Pin = ARD_D15_Pin|ARD_D14_Pin;
  GPIO_InitStruct.Mode = GPIO_MODE_AF_OD;
  GPIO_InitStruct.Pull = GPIO_NOPULL;
  GPIO_InitStruct.Speed = GPIO_SPEED_FREQ_VERY_HIGH;
  GPIO_InitStruct.Alternate = GPIO_AF4_I2C1;
  HAL_GPIO_Init(GPIOB, &GPIO_InitStruct);

  /* EXTI interrupt init*/
  HAL_NVIC_SetPriority(EXTI4_IRQn, 5, 0);
  HAL_NVIC_EnableIRQ(EXTI4_IRQn);

  HAL_NVIC_SetPriority(EXTI9_5_IRQn, 5, 0);
  HAL_NVIC_EnableIRQ(EXTI9_5_IRQn);

  HAL_NVIC_SetPriority(EXTI15_10_IRQn, 5, 0);
  HAL_NVIC_EnableIRQ(EXTI15_10_IRQn);

}

void StartDefaultTask(void *argument)
{
  for(;;)
  {
    osDelay(1);
  }
}

void HAL_TIM_PeriodElapsedCallback(TIM_HandleTypeDef *htim)
{
  if (htim->Instance == TIM6)
  {
    HAL_IncTick();
  }
}

void Error_Handler(void)
{
  __disable_irq();
  while (1)
  {
  }
}
